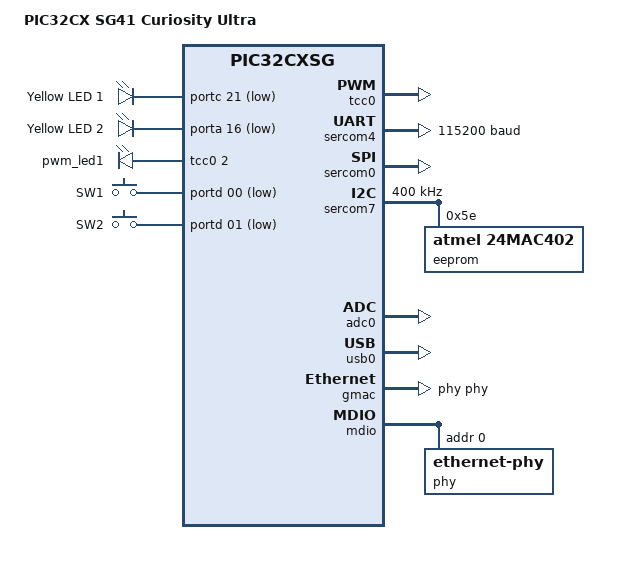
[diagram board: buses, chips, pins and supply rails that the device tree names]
/*
 * Copyright (c) 2024 Microchip
 *
 * SPDX-License-Identifier: Apache-2.0
 */

/dts-v1/;

#include <microchip/pic32c/pic32cx_sg/pic32cx1025sg.dtsi>
#include "pic32cxsg41_cult-pinctrl.dtsi"
#include <zephyr/dt-bindings/input/input-event-codes.h>

/ {
	model = "PIC32CX SG41 Curiosity Ultra";

	compatible = "pic32cxsg41,cult", "microchip,pic32cx1025sg41128", "microchip,pic32cxsg";

	chosen {
		zephyr,console = &sercom4;
		zephyr,shell-uart = &sercom4;
		zephyr,sram = &sram0;
		zephyr,flash = &flash0;
	};

	/* These aliases are provided for compatibility with samples */

	aliases {
		userled1 = &led1;
		userled2 = &led2;
		pwm-led1 = &pwm_led1;
		sw1 = &button1;
		sw2 = &button2;
		i2c-0 = &sercom7;
	};

	leds {
		compatible = "gpio-leds";

		led1: led_1 {
			gpios = <&portc 21 GPIO_ACTIVE_LOW>;
			label = "Yellow LED 1";
		};

		led2: led_2 {
			gpios = <&porta 16 GPIO_ACTIVE_LOW>;
			label = "Yellow LED 2";
		};
	};

	pwmleds {
		compatible = "pwm-leds";

		pwm_led1: pwm_led_1 {
			pwms = <&tcc0 2 PWM_MSEC(20)>;
		};
	};

	buttons {
		compatible = "gpio-keys";

		button1: button_1 {
			gpios = <&portd 00 (GPIO_PULL_UP | GPIO_ACTIVE_LOW)>;
			label = "SW1";
			zephyr,code = <INPUT_KEY_1>;
		};

		button2: button_2 {
			gpios = <&portd 01 (GPIO_PULL_UP | GPIO_ACTIVE_LOW)>;
			label = "SW2";
			zephyr,code = <INPUT_KEY_2>;
		};
	};
};

&cpu0 {
	clock-frequency = <120000000>;
};

&tcc0 {
	compatible = "atmel,sam0-tcc-pwm";

	/* Gives a maximum period of 1.1s for 120MHz main clock */

	prescaler = <8>;

	#pwm-cells = <2>;

	pinctrl-0 = <&pwm_default>;
	pinctrl-names = "default";
	status = "okay";
};

&sercom4 {
	compatible = "atmel,sam0-uart";

	current-speed = <115200>;
	rxpo = <1>;
	txpo = <0>;

	#address-cells = <1>;
	#size-cells = <0>;

	pinctrl-0 = <&sercom4_uart_default>;
	pinctrl-names = "default";
	status = "okay";
};

&sercom0 {
	compatible = "atmel,sam0-spi";

	dipo = <3>;
	dopo = <0>;

	#address-cells = <1>;
	#size-cells = <0>;

	pinctrl-0 = <&sercom0_spi_default>;
	pinctrl-names = "default";
	status = "okay";
};

&sercom7 {
	compatible = "atmel,sam0-i2c";

	clock-frequency = <I2C_BITRATE_FAST>;

	#address-cells = <1>;
	#size-cells = <0>;

	pinctrl-0 = <&sercom7_i2c_default>;
	pinctrl-names = "default";
	status = "okay";

	eeprom: eeprom@5e {
		compatible = "atmel,24mac402";

		reg = <0x5e>;
	};
};

&adc0 {
	status = "okay";
};

zephyr_udc0: &usb0 {
	pinctrl-0 = <&usb_dc_default>;
	pinctrl-names = "default";
	status = "okay";
};

&gmac {
	pinctrl-0 = <&gmac_rmii>;
	pinctrl-names = "default";
	mac-eeprom = <&eeprom>;
	phy-handle = <&phy>;
	status = "okay";
};

&mdio {
	pinctrl-0 = <&mdio_default>;
	pinctrl-names = "default";
	status = "okay";

	phy: ethernet-phy@0 {
		compatible = "ethernet-phy";

		reg = <0>;
		status = "okay";
	};
};

&flash0 {
	partitions {
		compatible = "fixed-partitions";

		#address-cells = <1>;
		#size-cells = <1>;

		/*
		 * The final 16 KiB is reserved for the application.
		 * Storage partition will be used by FCB/LittleFS/NVS
		 * if enabled.
		 */

		storage_partition: partition@fc000 {
			label = "storage";
			reg = <0x000fc000 0x00004000>;
		};
	};
};

&osc32kctrl {
	status = "okay";
};
